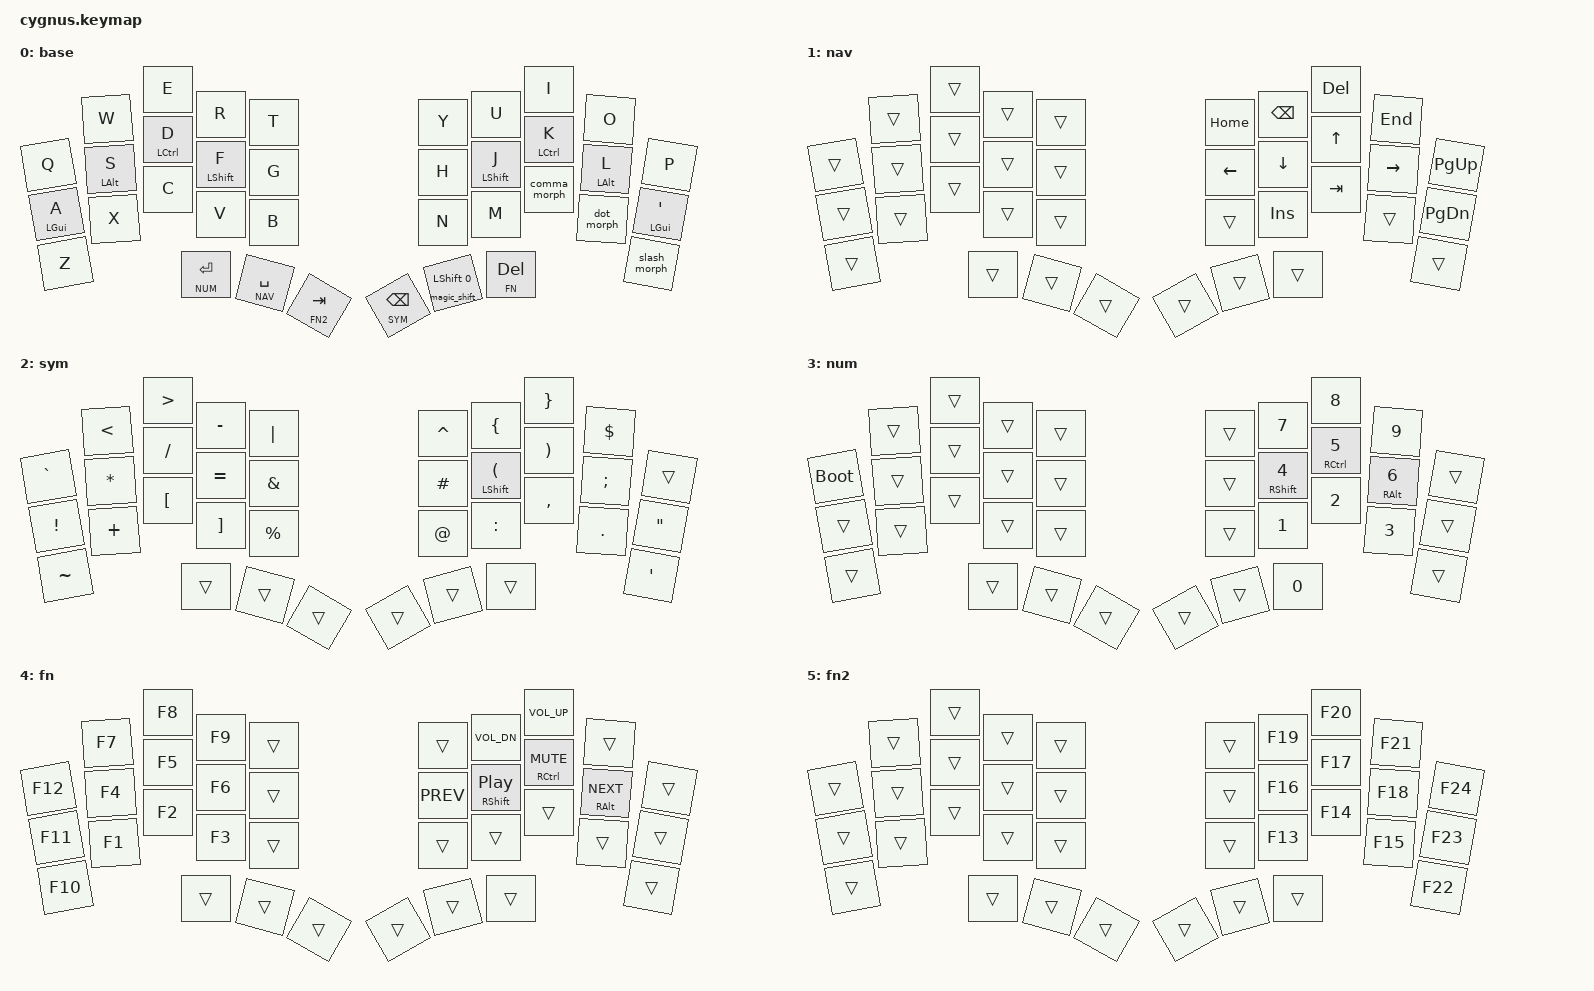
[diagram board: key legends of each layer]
// Cygnus keymap — a 36-key (3x5 + 3 thumbs) split using the generic 36-key
// position labels.
//
// Layer content is a port of the cosmotyl QMK default keymap:
// qmk_firmware/keyboards/handwired/cosmotyl/keymaps/default/keymap.c

#include <behaviors.dtsi>
#include <dt-bindings/zmk/keys.h>
#include <dt-bindings/zmk/bt.h>
#include <dt-bindings/zmk/outputs.h>

#include <zmk-helpers/helper.h>
#include <zmk-helpers/key-labels/36.h>

#define DEF  0
#define NAV  1
#define SYM  2
#define NUM  3
#define FN   4
#define FN2  5

#define QUICK_TAP_MS 175

#define ___ &trans

&sk {
  release-after-ms = <900>;
  quick-release; // As soon as a key is pressed after sticky, release the sticky to avoid multiple keys getting, e.g., capitalized.
};

&lt {
  flavor = "balanced";
  tapping-term-ms = <200>;
  quick-tap-ms = <QUICK_TAP_MS>;
};

/* Same as &lt, but the layer wins the moment another key is *pressed* instead
 * of waiting for that key to be released ("balanced"). Lets you release the
 * thumb before the symbol key without the roll degrading into BSPC + letter.
 * Only worth it where the tap side is rarely rolled into (BSPC, not SPACE). */
ZMK_HOLD_TAP(lt_hp,
    bindings = <&mo>, <&kp>;
    flavor = "hold-preferred";
    tapping-term-ms = <200>;
    quick-tap-ms = <QUICK_TAP_MS>;
)

/* Positional homerow mods — urob parity. */
#define MAKE_HRM(NAME, HOLD, TAP, TRIGGER_POS) \
    ZMK_HOLD_TAP(NAME, \
        bindings = <HOLD>, <TAP>; \
        flavor = "balanced"; \
        tapping-term-ms = <280>; \
        quick-tap-ms = <QUICK_TAP_MS>; \
        require-prior-idle-ms = <150>; \
        hold-trigger-on-release; \
        hold-trigger-key-positions = <TRIGGER_POS>; \
    )

MAKE_HRM(hml, &kp, &kp, KEYS_R THUMBS)
MAKE_HRM(hmr, &kp, &kp, KEYS_L THUMBS)

/* Shifted-key overrides (QMK key_overrides). */
ZMK_MOD_MORPH(dot_morph,
    bindings = <&kp DOT>, <&kp QMARK>;
    mods = <(MOD_LSFT|MOD_RSFT)>;
)
ZMK_MOD_MORPH(comma_morph,
    bindings = <&kp COMMA>, <&kp EXCL>;
    mods = <(MOD_LSFT|MOD_RSFT)>;
)
ZMK_MOD_MORPH(slash_morph,
    bindings = <&kp FSLH>, <&kp BSLH>;
    mods = <(MOD_LSFT|MOD_RSFT)>;
)

/* :w<CR> */
ZMK_MACRO(vim_sv,
    bindings = <&kp ESC>, <&kp COLON>, <&kp W>, <&kp RET>;
)

/* Magic shift — right inner thumb (RH0).
 *   Hold                       → LSHFT (no require-prior-idle-ms)
 *   Tap                        → &sk LSHFT (one-shot)
 *   Shift + tap / double-tap   → caps_word
 *
 * urob's upstream version also routes "tap-after-alpha → &key_repeat" via
 * &adaptive_key, which is a urob-fork extension not present in upstream v0.3.
 */
ZMK_HOLD_TAP(magic_shift,
    bindings = <&kp>, <&magic_shift_tap>;
    flavor = "balanced";
    tapping-term-ms = <200>;
    quick-tap-ms = <QUICK_TAP_MS>;
)
ZMK_MOD_MORPH(magic_shift_tap,
    bindings = <&sk LSHFT>, <&caps_word>;
    mods = <(MOD_LSFT)>;
)
#define MAGIC_SHIFT &magic_shift LSHFT 0

/* Short aliases so long compound bindings fit in 13-char cells. */
#define SFT_LPAR  &hmr LSHFT LPAR    // sym
#define SFT_PP    &mt RSHFT C_PP     // fn
#define CTL_MUTE  &mt RCTRL C_MUTE   // fn
#define ALT_NEXT  &mt RALT C_NEXT    // fn
#define SFT_N4    &mt RSHFT N4       // num
#define CTL_N5    &mt RCTRL N5       // num
#define ALT_N6    &mt RALT N6        // num
#define SYM_BSPC  &lt_hp SYM BSPC     // base thumb

/* Combos — positions resolved via key-labels/36.h.
   Signature: ZMK_COMBO(name, bindings, key-positions, layers, timeout)
   Bottom row: LB4=20(Z) LB3=21(X) LB2=22(C) LB1=23(V) LB0=24(B)
               RB0=25(N) RB1=26(M) RB2=27(,) RB3=28(.) RB4=29(/) */
ZMK_COMBO(combo_esc,     &kp ESC,     LB2 LB1,     DEF, 40)   // C + V
ZMK_COMBO(combo_caps,    &caps_word,  LB2 RB2,     DEF, 50)   // C + ,
ZMK_COMBO(combo_vim_sv,  &vim_sv,     RB1 RB2 RB3, DEF, 60)   // M + , + .


ZMK_LAYER(base,
//              ╭─────────────┬─────────────┬─────────────┬─────────────┬─────────────╮ ╭─────────────┬─────────────┬─────────────┬─────────────┬─────────────╮
                  &kp Q         &kp W         &kp E         &kp R         &kp T           &kp Y         &kp U         &kp I         &kp O         &kp P
//              ├─────────────┼─────────────┼─────────────┼─────────────┼─────────────┤ ├─────────────┼─────────────┼─────────────┼─────────────┼─────────────┤
                  &hml LGUI A   &hml LALT S   &hml LCTRL D  &hml LSHFT F  &kp G           &kp H         &hmr LSHFT J  &hmr LCTRL K  &hmr LALT L   &hmr LGUI SQT
//              ├─────────────┼─────────────┼─────────────┼─────────────┼─────────────┤ ├─────────────┼─────────────┼─────────────┼─────────────┼─────────────┤
                  &kp Z         &kp X         &kp C         &kp V         &kp B           &kp N         &kp M         &comma_morph  &dot_morph    &slash_morph
//              ╰─────────────┴─────────────┼─────────────┼─────────────┼─────────────┤ ├─────────────┼─────────────┼─────────────┴─────────────┴─────────────╯
                                              &lt NUM RET   &lt NAV SPACE &lt FN2 TAB     SYM_BSPC      MAGIC_SHIFT   &lt FN DEL
//                                          ╰─────────────┴─────────────┴─────────────╯ ╰─────────────┴─────────────┴─────────────╯
)

ZMK_LAYER(nav,
//              ╭─────────────┬─────────────┬─────────────┬─────────────┬─────────────╮ ╭─────────────┬─────────────┬─────────────┬─────────────┬─────────────╮
                  ___           ___           ___           ___           ___             &kp HOME      &kp BSPC      &kp DEL       &kp END       &kp PG_UP
//              ├─────────────┼─────────────┼─────────────┼─────────────┼─────────────┤ ├─────────────┼─────────────┼─────────────┼─────────────┼─────────────┤
                  ___           ___           ___           ___           ___             &kp LEFT      &kp DOWN      &kp UP        &kp RIGHT     &kp PG_DN
//              ├─────────────┼─────────────┼─────────────┼─────────────┼─────────────┤ ├─────────────┼─────────────┼─────────────┼─────────────┼─────────────┤
                  ___           ___           ___           ___           ___             ___           &kp INS       &kp TAB       ___           ___
//              ╰─────────────┴─────────────┼─────────────┼─────────────┼─────────────┤ ├─────────────┼─────────────┼─────────────┴─────────────┴─────────────╯
                                              ___           ___           ___             ___           ___           ___
//                                          ╰─────────────┴─────────────┴─────────────╯ ╰─────────────┴─────────────┴─────────────╯
)

ZMK_LAYER(sym,
//              ╭─────────────┬─────────────┬─────────────┬─────────────┬─────────────╮ ╭─────────────┬─────────────┬─────────────┬─────────────┬─────────────╮
                  &kp GRAVE     &kp LT        &kp GT        &kp MINUS     &kp PIPE        &kp CARET     &kp LBRC      &kp RBRC      &kp DLLR      ___
//              ├─────────────┼─────────────┼─────────────┼─────────────┼─────────────┤ ├─────────────┼─────────────┼─────────────┼─────────────┼─────────────┤
                  &kp EXCL      &kp ASTRK     &kp FSLH      &kp EQUAL     &kp AMPS        &kp HASH      SFT_LPAR      &kp RPAR      &kp SEMI      &kp DQT
//              ├─────────────┼─────────────┼─────────────┼─────────────┼─────────────┤ ├─────────────┼─────────────┼─────────────┼─────────────┼─────────────┤
                  &kp TILDE     &kp PLUS      &kp LBKT      &kp RBKT      &kp PRCNT       &kp AT        &kp COLON     &kp COMMA     &kp DOT       &kp SQT
//              ╰─────────────┴─────────────┼─────────────┼─────────────┼─────────────┤ ├─────────────┼─────────────┼─────────────┴─────────────┴─────────────╯
                                              ___           ___           ___             ___           ___           ___
//                                          ╰─────────────┴─────────────┴─────────────╯ ╰─────────────┴─────────────┴─────────────╯
)

ZMK_LAYER(num,
//              ╭─────────────┬─────────────┬─────────────┬─────────────┬─────────────╮ ╭─────────────┬─────────────┬─────────────┬─────────────┬─────────────╮
                  &bootloader   ___           ___           ___           ___             ___           &kp N7        &kp N8        &kp N9        ___
//              ├─────────────┼─────────────┼─────────────┼─────────────┼─────────────┤ ├─────────────┼─────────────┼─────────────┼─────────────┼─────────────┤
                  ___           ___           ___           ___           ___             ___           SFT_N4        CTL_N5        ALT_N6        ___
//              ├─────────────┼─────────────┼─────────────┼─────────────┼─────────────┤ ├─────────────┼─────────────┼─────────────┼─────────────┼─────────────┤
                  ___           ___           ___           ___           ___             ___           &kp N1        &kp N2        &kp N3        ___
//              ╰─────────────┴─────────────┼─────────────┼─────────────┼─────────────┤ ├─────────────┼─────────────┼─────────────┴─────────────┴─────────────╯
                                              ___           ___           ___             ___           ___           &kp N0
//                                          ╰─────────────┴─────────────┴─────────────╯ ╰─────────────┴─────────────┴─────────────╯
)

ZMK_LAYER(fn,
//              ╭─────────────┬─────────────┬─────────────┬─────────────┬─────────────╮ ╭─────────────┬─────────────┬─────────────┬─────────────┬─────────────╮
                  &kp F12       &kp F7        &kp F8        &kp F9        ___             ___           &kp C_VOL_DN  &kp C_VOL_UP  ___           ___
//              ├─────────────┼─────────────┼─────────────┼─────────────┼─────────────┤ ├─────────────┼─────────────┼─────────────┼─────────────┼─────────────┤
                  &kp F11       &kp F4        &kp F5        &kp F6        ___             &kp C_PREV    SFT_PP        CTL_MUTE      ALT_NEXT      ___
//              ├─────────────┼─────────────┼─────────────┼─────────────┼─────────────┤ ├─────────────┼─────────────┼─────────────┼─────────────┼─────────────┤
                  &kp F10       &kp F1        &kp F2        &kp F3        ___             ___           ___           ___           ___           ___
//              ╰─────────────┴─────────────┼─────────────┼─────────────┼─────────────┤ ├─────────────┼─────────────┼─────────────┴─────────────┴─────────────╯
                                              ___           ___           ___             ___           ___           ___
//                                          ╰─────────────┴─────────────┴─────────────╯ ╰─────────────┴─────────────┴─────────────╯
)

/* F13–F24, right-hand mirror of the fn layer (F25 doesn't exist in HID). */
ZMK_LAYER(fn2,
//              ╭─────────────┬─────────────┬─────────────┬─────────────┬─────────────╮ ╭─────────────┬─────────────┬─────────────┬─────────────┬─────────────╮
                  ___           ___           ___           ___           ___             ___           &kp F19       &kp F20       &kp F21       &kp F24
//              ├─────────────┼─────────────┼─────────────┼─────────────┼─────────────┤ ├─────────────┼─────────────┼─────────────┼─────────────┼─────────────┤
                  ___           ___           ___           ___           ___             ___           &kp F16       &kp F17       &kp F18       &kp F23
//              ├─────────────┼─────────────┼─────────────┼─────────────┼─────────────┤ ├─────────────┼─────────────┼─────────────┼─────────────┼─────────────┤
                  ___           ___           ___           ___           ___             ___           &kp F13       &kp F14       &kp F15       &kp F22
//              ╰─────────────┴─────────────┼─────────────┼─────────────┼─────────────┤ ├─────────────┼─────────────┼─────────────┴─────────────┴─────────────╯
                                              ___           ___           ___             ___           ___           ___
//                                          ╰─────────────┴─────────────┴─────────────╯ ╰─────────────┴─────────────┴─────────────╯
)
